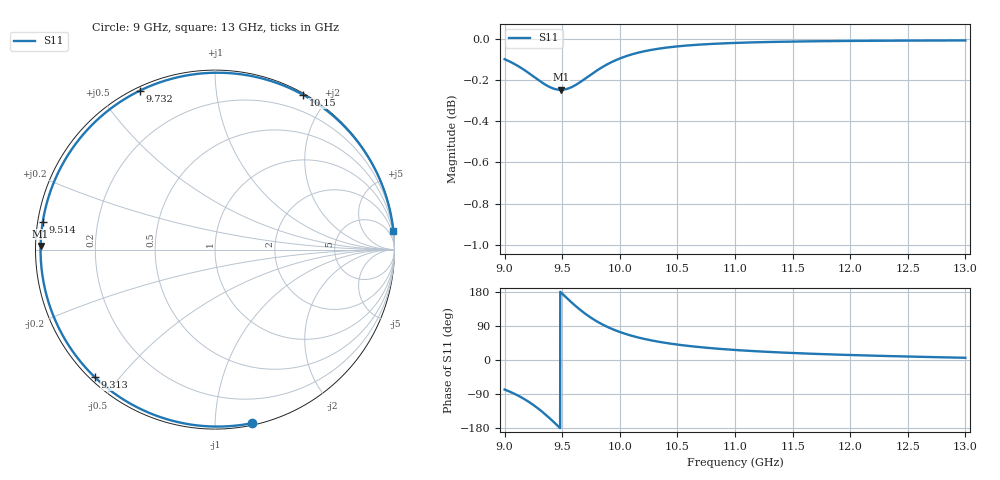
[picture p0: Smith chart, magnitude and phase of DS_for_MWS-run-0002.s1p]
! TOUCHSTONE file generated by CST DESIGN STUDIO
! Date and time: Tue Feb  4 12:25:15 2025
! Project name: C:\Work\MatlabApps\UnitCellOptimizationMatlab\CST\unitcell.cst
! Tree item: Tasks\Sweep1\SPara1\S-Parameters
! Header version: 2024
! Port assignment regex: !\s*Touchstone port\s*([0-9]+)\s*=\s*(CST MWS port|CST DES external port|CST DES block port)\s*(.+)\s* \(\"(.*)\"\)(\s*mode\s*([0-9]+))?.*
! Touchstone port assignment:
! Touchstone port 1 = CST DES external port 1 ("")
# GHz S MA R 50
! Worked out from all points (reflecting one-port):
!   4001 points, 9 GHz to 13 GHz, reference 50 ohm
!   lowest |S11| = -0.2 dB at 9.487 GHz (marker M1), VSWR 70.39, Z = 0.71 + j0.531 ohm
!   phase of S11 starts at -78 deg and turns -276 deg over the sweep
!   S11 on the Smith chart (normalised r, x): 9 GHz: 0.01, -1.24; 9.313 GHz: 0.01, -0.43; 9.514 GHz: 0.01, +0.08; 9.732 GHz: 0.01, +0.63; 10.15 GHz: 0.02, +1.72; 13 GHz: 0, +20
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9  0.9888 -78.0
9.079  0.9864 -88.3
9.178  0.9825 -104.4
9.248  0.9794 -118.3
9.313  0.9765 -133.3
9.359  0.9746 -145.1
9.407  0.9731 -158.2
9.448  0.9723 -169.9
9.487  0.972 178.8
9.5  0.972 175.0
9.514  0.9721 170.9
9.567  0.9731 155.9
9.627  0.975 139.7
9.679  0.9772 126.9
9.732  0.9796 115.2
9.786  0.9819 104.6
9.846  0.9843 94.3
9.922  0.987 83.3
10  0.9892 73.9
10.148  0.9922 60.3
10.307  0.9943 49.8
10.5  0.9959 40.7
10.722  0.997 33.2
11  0.9978 26.5
11.5  0.9986 18.5
12  0.999 13.1
12.5  0.9991 9.1
13  0.9992 5.9
